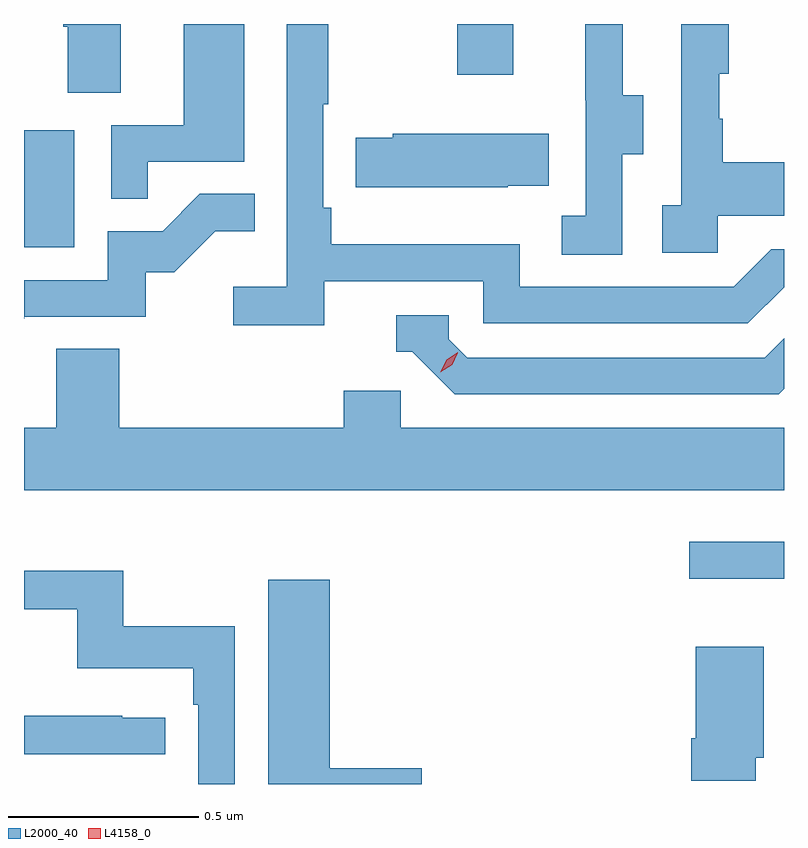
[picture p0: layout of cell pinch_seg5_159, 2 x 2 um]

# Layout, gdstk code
import gdstk
lib = gdstk.Library(unit=1e-6, precision=1e-09)
def R(c, l, rs):  # rectangles x0, y0, x1, y1
    for r in rs: c.add(gdstk.rectangle(r[:2], r[2:], *l))
def P(c, l, *ps):  # polygons
    for p in ps: c.add(gdstk.Polygon(p, *l))
L2000_40 = (2000, 40)
L4158_0 = (4158, 0)

pinch_seg5_159 = lib.new_cell('pinch_seg5_159')
R(pinch_seg5_159, L2000_40, [(1104.609,884.499,1104.858,884.596), (1102.858,885.372,1102.99,885.679), (1103.998,885.825,1104.145,885.959)])
P(pinch_seg5_159, L2000_40, [(1103.648,885.282),(1104.066,885.282),(1104.066,885.171),(1104.763,885.171),(1104.858,885.266),(1104.858,885.366),(1104.825,885.366),(1104.726,885.267),(1104.162,885.267),(1104.162,885.379),(1103.666,885.379),(1103.666,885.475),(1103.646,885.475),(1103.646,885.748),(1103.659,885.748),(1103.659,885.959),(1103.55,885.959),(1103.55,885.268),(1103.409,885.268),(1103.409,885.166),(1103.648,885.166)],
  [(1103.113,885.959),(1102.961,885.959),(1102.961,885.952),(1102.973,885.952),(1102.973,885.778),(1103.113,885.778)],
  [(1104.684,885.455),(1104.858,885.455),(1104.858,885.595),(1104.697,885.595),(1104.697,885.71),(1104.687,885.71),(1104.687,885.828),(1104.712,885.828),(1104.712,885.959),(1104.588,885.959),(1104.588,885.482),(1104.537,885.482),(1104.537,885.357),(1104.684,885.357)],
  [(1104.432,885.616),(1104.487,885.616),(1104.487,885.771),(1104.433,885.771),(1104.433,885.959),(1104.335,885.959),(1104.335,885.759),(1104.336,885.759),(1104.336,885.455),(1104.273,885.455),(1104.273,885.352),(1104.432,885.352)],
  [(1103.183,885.597),(1103.437,885.597),(1103.437,885.958),(1103.279,885.958),(1103.279,885.693),(1103.088,885.693),(1103.088,885.499),(1103.183,885.499)],
  [(1104.131,885.533),(1104.239,885.533),(1104.239,885.67),(1103.829,885.67),(1103.829,885.66),(1103.731,885.66),(1103.731,885.53),(1104.131,885.53)],
  [(1102.859,885.189),(1103.178,885.189),(1103.178,885.306),(1103.254,885.306),(1103.361,885.413),(1103.465,885.413),(1103.465,885.512),(1103.321,885.512),(1103.223,885.414),(1103.079,885.414),(1103.079,885.285),(1102.858,885.285),(1102.858,885.184),(1102.859,885.184)],
  [(1104.858,884.999),(1104.858,885.132),(1104.807,885.081),(1104.024,885.081),(1103.976,885.129),(1103.976,885.192),(1103.837,885.192),(1103.837,885.096),(1103.88,885.096),(1103.991,884.985),(1104.844,884.985)],
  [(1104.858,884.896),(1103.85,884.896),(1103.85,884.994),(1103.699,884.994),(1103.699,884.896),(1103.108,884.896),(1103.108,885.104),(1102.943,885.104),(1102.943,884.896),(1102.858,884.896),(1102.858,884.732),(1104.858,884.732)],
  [(1103.412,884.374),(1103.119,884.374),(1103.119,884.52),(1102.858,884.52),(1102.858,884.419),(1102.998,884.419),(1102.998,884.264),(1103.303,884.264),(1103.303,884.168),(1103.316,884.168),(1103.316,883.959),(1103.412,883.959)],
  [(1103.905,884),(1103.662,884),(1103.662,884.497),(1103.501,884.497),(1103.501,883.959),(1103.905,883.959)],
  [(1104.784,884.028),(1104.805,884.028),(1104.805,884.32),(1104.626,884.32),(1104.626,884.08),(1104.614,884.08),(1104.614,883.968),(1104.784,883.968)],
  [(1103.23,884.133),(1103.117,884.133),(1103.117,884.138),(1102.858,884.138),(1102.858,884.037),(1103.23,884.037)])
P(pinch_seg5_159, L4158_0, [(1103.954,885.042),(1103.954,885.042),(1103.97,885.075),(1104,885.095),(1104,885.095),(1104,885.094),(1103.985,885.062),(1103.954,885.042)])

lib.write_gds('pinch_seg5_159.gds')
